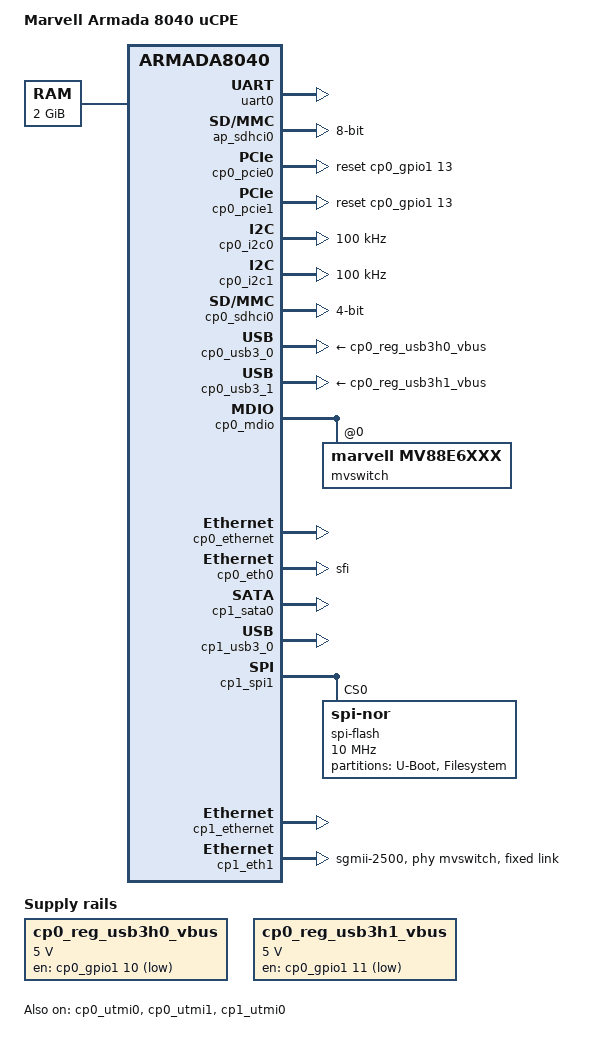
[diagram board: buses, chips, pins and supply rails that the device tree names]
/*
 * Copyright (C) 2018 Marvell International Ltd.
 *
 * SPDX-License-Identifier:	GPL-2.0
 * https://spdx.org/licenses
 */

#include "armada-8040.dtsi" /* include SoC device tree */

/ {
	model = "Marvell Armada 8040 uCPE";
	compatible = "marvell,armada-8040-ucpe",
		     "marvell,armada8040";

	chosen {
		stdout-path = "serial0:115200n8";
	};

	aliases {
		i2c0 = &cp0_i2c0;
		i2c1 = &cp0_i2c1;
		spi0 = &cp1_spi1;
		gpio0 = &ap_gpio0;
		gpio1 = &cp0_gpio0;
		gpio2 = &cp0_gpio1;
	};

	memory@00000000 {
		device_type = "memory";
		reg = <0x0 0x0 0x0 0x80000000>;
	};

	simple-bus {
		compatible = "simple-bus";
		#address-cells = <1>;
		#size-cells = <0>;

		cp0_reg_usb3h0_vbus: usb3-right-port-vbus {
			compatible = "regulator-fixed";
			pinctrl-names = "default";
			pinctrl-0 = <&cp0_xhci_vbus_pins0>;
			regulator-name = "cp0_reg-usb3h0-vbus";
			regulator-min-microvolt = <5000000>;
			regulator-max-microvolt = <5000000>;
			startup-delay-us = <300000>;
			shutdown-delay-us = <500000>;
			gpio = <&cp0_gpio1 10 GPIO_ACTIVE_LOW>; /* GPIO[42] */
		};

		cp0_reg_usb3h1_vbus: usb3-left-port-vbus {
			compatible = "regulator-fixed";
			pinctrl-names = "default";
			pinctrl-0 = <&cp0_xhci_vbus_pins1>;
			regulator-name = "cp0_reg-usb3h1-vbus";
			regulator-min-microvolt = <5000000>;
			regulator-max-microvolt = <5000000>;
			startup-delay-us = <300000>;
			shutdown-delay-us = <500000>;
			gpio = <&cp0_gpio1 11 GPIO_ACTIVE_LOW>; /* GPIO[43] */
		};
	};
};

&uart0 {
	status = "okay";
};

&ap_pinctl {
	/*
	 * MPP Bus:
	 * AP_SD_CLK    [0]
	 * AP_SD_CMD    [1]
	 * AP_SD_D[0~7] [2-10]
	 * UART0        [11,19]
	 * AP_SD_HW_RST [12]
	 */
		  /* 0 1 2 3 4 5 6 7 8 9 */
	pin-func = < 1 1 1 1 1 1 1 1 1 1
		     1 3 2 0 0 0 0 0 0 3 >;
};

/* on-board eMMC, KLM8G1GEME-B041 */
&ap_sdhci0 {
	pinctrl-names = "default";
	pinctrl-0 = <&ap_emmc_pins>;
	bus-width = <8>;
	status = "okay";
};

&cp0_pinctl {
	/*
	 * MPP Bus:
	 * [0-31] = 0xff: Keep default CP0_shared_pins:
	 * [32] CP1_PCIE1_CLKREQn
	 * [33] 10_SFP_LED
	 * [34] CP1_PCIE0_CLKREQn
	 * [35-36] CP0 I2C1
	 * [37-38] CP0 I2C0
	 * [39] PWM IC enable
	 * [40,41] CP0 SMI
	 * [42] USB3 PWR EN Port1
	 * [43] USB3 PWR EN Port2
	 * [44] CP0_PCIe0_clk_en
	 * [45] CP0 PCIe0 and PCIe1 RSTOUTn
	 * [46] CP0_PCIe0_waken
	 * [47] CP0_PCIe1_waken
	 * [48] CP0_PCIe1_clk_en / SFP 1G LED SW4
	 * [49] CP0 PCIe0 wifi disable
	 * [50-51] CP0_UA2
	 * [52] TP31 --> CP0_LED_CLK ?
	 * [53] TP32 --> CP0_LED_STB ?
	 * [54] CP0 LED data
	 * [55] Micro SD card detect
	 * [56-61] Micro SD
	 * [62] CP0 PCIe1 wifi disable
	 */
		/*   0    1    2    3    4    5    6    7    8    9 */
	pin-func = < 0xff 0xff 0xff 0xff 0xff 0xff 0xff 0xff 0xff 0xff
		     0xff 0xff 0xff 0xff 0xff 0xff 0xff 0xff 0xff 0xff
		     0xff 0xff 0xff 0xff 0xff 0xff 0xff 0xff 0xff 0xff
		     0xff 0    0x9  0x0  0x9  0x2  0x2  0x2  0x2  0x0
		     0x8  0x8  0x0  0x0  0x0  0x9  0x0  0x0  0x0  0x0
		     0x6  0x6  0x8  0x8  0x0  0x0  0xe  0xe  0xe  0xe
		     0xe  0xe  0x0 >;

	cp0_xhci_vbus_pins0: cpm-xhci-vbus-pins {
		marvell,pins = < 42 >;
		marvell,function = <0>;
	};

	cp0_xhci_vbus_pins1: cpm-xhci-vbus-pins {
		marvell,pins = < 43 >;
		marvell,function = <0>;
	};
};

&cp0_pcie0 {
	status = "okay";
	reset-gpios = <&cp0_gpio1 13 GPIO_ACTIVE_HIGH>;
	gpio = <&cp0_gpio1 12 GPIO_ACTIVE_HIGH>; /* MPP[44] clock enable*/
};

&cp0_pcie1 {
	status = "okay";
	reset-gpios = <&cp0_gpio1 13 GPIO_ACTIVE_HIGH>;
	gpio = <&cp0_gpio1 16 GPIO_ACTIVE_HIGH>; /* MPP[48] clock enable*/
};

&cp0_pcie2 {
	status = "disabled";
};

&cp0_i2c0 {
	pinctrl-names = "default";
	pinctrl-0 = <&cp0_i2c0_pins>;
	status = "okay";
	clock-frequency = <100000>;
};

&cp0_i2c1 {
	pinctrl-names = "default";
	pinctrl-0 = <&cp0_i2c1_pins>;
	status = "okay";
	clock-frequency = <100000>;
};

/* uSD slot */
&cp0_sdhci0 {
	pinctrl-names = "default";
	pinctrl-0 = <&cp0_sdhci_pins>;
	bus-width = <4>;
	status = "okay";
};

&cp0_usb3_0 {
	status = "okay";
	/* MPP[42] for USB3 port0 vbus on/off*/
	vbus-supply = <&cp0_reg_usb3h0_vbus>;
};

&cp0_usb3_1 {
	status = "okay";
	/* MPP[43] for USB3 port0 vbus on/off*/
	vbus-supply = <&cp0_reg_usb3h1_vbus>;
};

&cp0_utmi0 {
	status = "okay";
};

&cp0_utmi1 {
	status = "okay";
};

&cp0_comphy {
	/*
	 * CP0 Serdes Configuration:
	 * Lane 0: PCIE0
	 * Lane 1: USB3 HOST0
	 * Lane 2: SFI
	 * Lane 3: USB3 HOST1
	 * Lane 4: PCIE1
	 * Lane 5: NC
	 */
	phy0 {
		phy-type = <COMPHY_TYPE_PEX0>;
	};
	phy1 {
		phy-type = <COMPHY_TYPE_USB3_HOST0>;
	};
	phy2 {
		phy-type = <COMPHY_TYPE_SFI0>;
	};
	phy3 {
		phy-type = <COMPHY_TYPE_USB3_HOST1>;
	};
	phy4 {
		phy-type = <COMPHY_TYPE_PEX1>;
	};
	phy5 {
		phy-type = <COMPHY_TYPE_UNCONNECTED>;
	};
};

&cp0_mdio {
	status = "okay";

	mvswitch: switch@0{
		compatible = "marvell,mv88e6xxx";
		status = "okay";
		phy-addr = <0x0>;
		cpu-port = <0xa>;
		port-mask = <0x7FF>;
	};
};

&cp0_ethernet {
	status = "okay";
};

/* 10G SFI/copper */
&cp0_eth0 {
	status = "okay";
	phy-mode = "sfi";
};

&cp1_sata0 {
	status = "okay";
	gpio = <&cp1_gpio0 17 GPIO_ACTIVE_LOW>;
};

&cp1_usb3_0 {
	status = "okay";
};

&cp1_utmi0 {
	status = "okay";
};

&cp1_pinctl {
	/*
	 * MPP Bus:
	 * [0-5] TDM
	 * [6,7] CP1_UART 0
	 * [8]   CP1 10G SFP LOS
	 * [9]   CP1 10G TX FAULT
	 * [10]  CP1 10G SFP TX Disable
	 * [11]  CP1 10G SFP Mode
	 * [12]  SPI1 CS1n
	 * [13]  SPI1 MISO (TDM and SPI ROM shared)
	 * [14]  SPI1 CS0n
	 * [15]  SPI1 MOSI (TDM and SPI ROM shared)
	 * [16]  SPI1 CLK (TDM and SPI ROM shared)
	 * [17]  SSD DEV SLEEP (pull down to wake up SSD)
	 * [18]  FAN PWM
	 * [19]  PWM Sense
	 * [20]  SFP 1G LED SW1
	 * [21]  SFP 1G LED SW2
	 * [22]  USB3 Port1 PWR overcurrent ?
	 * [23]  USB3 Port2 PWR overcurrent ?
	 * [24]  TP33
	 * [25-28] LTE
	 * [29]  PCA9535 int
	 * [30]  E6390 int
	 * [31]  E6390 RESETn
	 * [32-62] = 0xff: Keep default CP1_shared_pins:
	 */
		/*   0    1    2    3    4    5    6    7    8    9 */
	pin-func = < 0x4  0x4  0x4  0x4  0x4  0x4  0x8  0x8  0x0  0x0
		     0x0  0x0  0x3  0x3  0x3  0x3  0x3  0x0  0x0  0x0
		     0x0  0x0  0x0  0x0  0x0  0x0  0x0  0x0  0x0  0x0
		     0x0  0x0  0xff 0xff 0xff 0xff 0xff 0xff 0xff 0xff
		     0xff 0xff 0xff 0xff 0xff 0xff 0xff 0xff 0xff 0xff
		     0xff 0xff 0xff 0xff 0xff 0xff 0xff 0xff 0xff 0xff
		     0xff 0xff 0xff>;
};

&cp1_spi1 {
	pinctrl-names = "default";
	pinctrl-0 = <&cp1_spi1_pins>;
	status = "okay";

	spi-flash@0 {
		#address-cells = <1>;
		#size-cells = <1>;
		compatible = "jedec,spi-nor";
		reg = <0>;
		spi-max-frequency = <10000000>;

		partitions {
			compatible = "fixed-partitions";
			#address-cells = <1>;
			#size-cells = <1>;

			partition@0 {
				label = "U-Boot";
				reg = <0 0x200000>;
			};
			partition@400000 {
				label = "Filesystem";
				reg = <0x200000 0xce0000>;
			};
		};
	};
};

&cp1_comphy {
	/*
	 * CP1 Serdes Configuration:
	 * Lane 0: SATA 1
	 * Lane 1: SATA 0
	 * Lane 2: USB HOST 0
	 * Lane 3: HS-SGMII
	 * Lane 4: RXAUI0
	 * Lane 5: RXAUI1
	 */
	phy0 {
		phy-type = <COMPHY_TYPE_SATA1>;
	};
	phy1 {
		phy-type = <COMPHY_TYPE_SATA0>;
	};
	phy2 {
		phy-type = <COMPHY_TYPE_USB3_HOST0>;
	};
	phy3 {
		phy-type = <COMPHY_TYPE_SGMII1>;
		phy-speed = <COMPHY_SPEED_3_125G>;
	};
	phy4 {
		phy-type = <COMPHY_TYPE_RXAUI0>;
	};
	phy5 {
		phy-type = <COMPHY_TYPE_RXAUI1>;
	};
};

&cp1_ethernet {
	status = "okay";
};

/* 10G RXAUI to E6390X port9 - CP1 SRDS[4:5] */
&cp1_eth0 {
	status = "disabled";
	phy-mode = "rxaui";
};

/* 2.5G SGMii to E6390X port10 - CP1 SRDS[3] */
&cp1_eth1 {
	status = "okay";
	phy-mode = "sgmii-2500";
	phy = <&mvswitch>;
	marvell,sfp-tx-disable-gpio = <&cp1_gpio0 24 GPIO_ACTIVE_HIGH>;
	fixed-link {
		speed = <2500>;
		full-duplex;
	};
};

&cp1_eth2 {
	status = "disabled";
};
